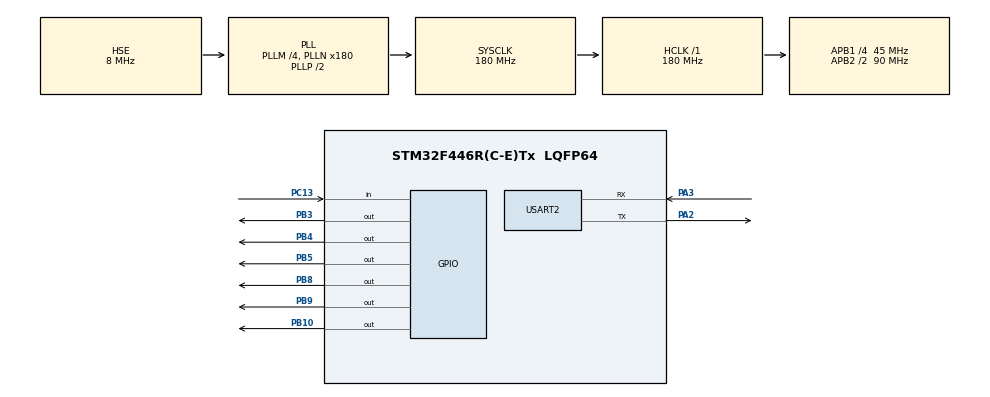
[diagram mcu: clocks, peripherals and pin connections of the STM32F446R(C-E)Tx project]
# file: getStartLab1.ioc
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FREERTOS.BinarySemaphores01=binarySemAutoGreen,Dynamic,NULL;binarySemAutoYellow,Dynamic,NULL;binarySemAutoRed,Dynamic,NULL;binarySemPedGreen,Dynamic,NULL;binarySemPedRed,Dynamic,NULL
FREERTOS.Tasks01=autoGreen,24,128,StartAutoGreen,Default,NULL,Dynamic,NULL,NULL;autoYellow,24,128,StartAutoYellow,Default,NULL,Dynamic,NULL,NULL;autoRed,24,128,StartAutoRed,Default,NULL,Dynamic,NULL,NULL;pedRed,24,128,StartPedRed,Default,NULL,Dynamic,NULL,NULL;pedGreen,24,128,startPedGreen,Default,NULL,Dynamic,NULL,NULL
FREERTOS.configUSE_NEWLIB_REENTRANT=1
Mcu.Family=STM32F4
Mcu.Name=STM32F446R(C-E)Tx
Mcu.Package=LQFP64
NVIC.PriorityGroup=NVIC_PRIORITYGROUP_4
NVIC.TIM6_DAC_IRQn=true\:15\:0\:false\:false\:true\:false\:false\:true\:true
NVIC.TimeBase=TIM6_DAC_IRQn
NVIC.TimeBaseIP=TIM6
PA13.Mode=Serial_Wire
PA13.Signal=SYS_JTMS-SWDIO
PA14.Mode=Serial_Wire
PA14.Signal=SYS_JTCK-SWCLK
PA2.Mode=Asynchronous
PA2.Signal=USART2_TX
PA3.Mode=Asynchronous
PA3.Signal=USART2_RX
PB10.Signal=GPIO_Output
PB3.Signal=GPIO_Output
PB4.Signal=GPIO_Output
PB5.Signal=GPIO_Output
PB8.Signal=GPIO_Output
PB9.Signal=GPIO_Output
PC13.Signal=GPIO_Input
PH0-OSC_IN.Mode=HSE-External-Oscillator
PH0-OSC_IN.Signal=RCC_OSC_IN
PH1-OSC_OUT.Mode=HSE-External-Oscillator
PH1-OSC_OUT.Signal=RCC_OSC_OUT
ProjectManager.HeapSize=0x200
ProjectManager.StackSize=0x400
ProjectManager.TargetToolchain=STM32CubeIDE
RCC.48MHZClocksFreq_Value=84000000
RCC.AHBFreq_Value=180000000
RCC.APB1CLKDivider=RCC_HCLK_DIV4
RCC.APB1Freq_Value=45000000
RCC.APB1TimFreq_Value=90000000
RCC.APB2CLKDivider=RCC_HCLK_DIV2
RCC.APB2Freq_Value=90000000
RCC.APB2TimFreq_Value=180000000
RCC.CortexFreq_Value=180000000
RCC.FLatency-AdvancedSettings=FLASH_LATENCY_5
RCC.HCLKFreq_Value=180000000
RCC.HSE_VALUE=8000000
RCC.HSI_VALUE=16000000
RCC.PLLM=4
RCC.PLLN=180
RCC.PLLSourceVirtual=RCC_PLLSOURCE_HSE
RCC.SYSCLKFreq_VALUE=180000000
RCC.SYSCLKSource=RCC_SYSCLKSOURCE_PLLCLK
RCC.USBFreq_Value=180000000
RCC.VCOOutputFreq_Value=360000000
USART2.VirtualMode=VM_ASYNC
VP_FREERTOS_VS_CMSIS_V2.Mode=CMSIS_V2
VP_SYS_VS_tim6.Mode=TIM6
board=NUCLEO-F446RE

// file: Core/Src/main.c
/* USER CODE BEGIN Header */
/**
  ******************************************************************************
  * @file           : main.c
  * @brief          : Main program body
  ******************************************************************************
  * @attention
  *
  * Copyright (c) 2024 STMicroelectronics.
  * All rights reserved.
  *
  * This software is licensed under terms that can be found in the LICENSE file
  * in the root directory of this software component.
  * If no LICENSE file comes with this software, it is provided AS-IS.
  *
  ******************************************************************************
  */
/* USER CODE END Header */
#include "main.h"
#include "cmsis_os.h"

UART_HandleTypeDef huart2;

/* Definitions for autoGreen */
osThreadId_t autoGreenHandle;
const osThreadAttr_t autoGreen_attributes = {
  .name = "autoGreen",
  .stack_size = 128 * 4,
  .priority = (osPriority_t) osPriorityNormal,
};
/* Definitions for autoYellow */
osThreadId_t autoYellowHandle;
const osThreadAttr_t autoYellow_attributes = {
  .name = "autoYellow",
  .stack_size = 128 * 4,
  .priority = (osPriority_t) osPriorityNormal,
};
/* Definitions for autoRed */
osThreadId_t autoRedHandle;
const osThreadAttr_t autoRed_attributes = {
  .name = "autoRed",
  .stack_size = 128 * 4,
  .priority = (osPriority_t) osPriorityNormal,
};
/* Definitions for pedRed */
osThreadId_t pedRedHandle;
const osThreadAttr_t pedRed_attributes = {
  .name = "pedRed",
  .stack_size = 128 * 4,
  .priority = (osPriority_t) osPriorityNormal,
};
/* Definitions for pedGreen */
osThreadId_t pedGreenHandle;
const osThreadAttr_t pedGreen_attributes = {
  .name = "pedGreen",
  .stack_size = 128 * 4,
  .priority = (osPriority_t) osPriorityNormal,
};
/* Definitions for binarySemAutoGreen */
osSemaphoreId_t binarySemAutoGreenHandle;
const osSemaphoreAttr_t binarySemAutoGreen_attributes = {
  .name = "binarySemAutoGreen"
};
/* Definitions for binarySemAutoYellow */
osSemaphoreId_t binarySemAutoYellowHandle;
const osSemaphoreAttr_t binarySemAutoYellow_attributes = {
  .name = "binarySemAutoYellow"
};
/* Definitions for binarySemAutoRed */
osSemaphoreId_t binarySemAutoRedHandle;
const osSemaphoreAttr_t binarySemAutoRed_attributes = {
  .name = "binarySemAutoRed"
};
/* Definitions for binarySemPedGreen */
osSemaphoreId_t binarySemPedGreenHandle;
const osSemaphoreAttr_t binarySemPedGreen_attributes = {
  .name = "binarySemPedGreen"
};
/* Definitions for binarySemPedRed */
osSemaphoreId_t binarySemPedRedHandle;
const osSemaphoreAttr_t binarySemPedRed_attributes = {
  .name = "binarySemPedRed"
};

void SystemClock_Config(void);
static void MX_GPIO_Init(void);
static void MX_USART2_UART_Init(void);
void StartAutoGreen(void *argument);
void StartAutoYellow(void *argument);
void StartAutoRed(void *argument);
void StartPedRed(void *argument);
void startPedGreen(void *argument);

/* USER CODE BEGIN 0 */
uint8_t dataTask1[] = "Task1: How are you?\r\n";
uint8_t dataTask2[] = "Task2: I am fine and you.\r\n";
uint8_t dataTask3[] = "Task3: It is nice you see here, Task3\r\n";

int flag = 0;

/* USER CODE END 0 */

int main(void)
{

  /* MCU Configuration--------------------------------------------------------*/

  /* Reset of all peripherals, Initializes the Flash interface and the Systick. */
  HAL_Init();

  /* Configure the system clock */
  SystemClock_Config();

  /* Initialize all configured peripherals */
  MX_GPIO_Init();
  MX_USART2_UART_Init();

  /* Init scheduler */
  osKernelInitialize();

  /* Create the semaphores(s) */
  /* creation of binarySemAutoGreen */
  binarySemAutoGreenHandle = osSemaphoreNew(1, 1, &binarySemAutoGreen_attributes); // Initialize to 1 for phase 1.

  /* creation of binarySemAutoYellow */
  binarySemAutoYellowHandle = osSemaphoreNew(1, 0, &binarySemAutoYellow_attributes);

  /* creation of binarySemAutoRed */
  binarySemAutoRedHandle = osSemaphoreNew(1, 0, &binarySemAutoRed_attributes);

  /* creation of binarySemPedGreen */
  binarySemPedGreenHandle = osSemaphoreNew(1, 0, &binarySemPedGreen_attributes);

  /* creation of binarySemPedRed */
  binarySemPedRedHandle = osSemaphoreNew(1, 1, &binarySemPedRed_attributes); // Initialize to 1 for phase 1.

  /* Create the thread(s) */
  /* creation of autoGreen */
  autoGreenHandle = osThreadNew(StartAutoGreen, NULL, &autoGreen_attributes);

  /* creation of autoYellow */
  autoYellowHandle = osThreadNew(StartAutoYellow, NULL, &autoYellow_attributes);

  /* creation of autoRed */
  autoRedHandle = osThreadNew(StartAutoRed, NULL, &autoRed_attributes);

  /* creation of pedRed */
  pedRedHandle = osThreadNew(StartPedRed, NULL, &pedRed_attributes);

  /* creation of pedGreen */
  pedGreenHandle = osThreadNew(startPedGreen, NULL, &pedGreen_attributes);

  /* Start scheduler */
  osKernelStart();

  /* We should never get here as control is now taken by the scheduler */
  /* Infinite loop */
  while (1)
  {

  }
}

void SystemClock_Config(void)
{
  RCC_OscInitTypeDef RCC_OscInitStruct = {0};
  RCC_ClkInitTypeDef RCC_ClkInitStruct = {0};

  /** Configure the main internal regulator output voltage
  */
  __HAL_RCC_PWR_CLK_ENABLE();
  __HAL_PWR_VOLTAGESCALING_CONFIG(PWR_REGULATOR_VOLTAGE_SCALE1);

  /** Initializes the RCC Oscillators according to the specified parameters
  * in the RCC_OscInitTypeDef structure.
  */
  RCC_OscInitStruct.OscillatorType = RCC_OSCILLATORTYPE_HSE;
  RCC_OscInitStruct.HSEState = RCC_HSE_ON;
  RCC_OscInitStruct.PLL.PLLState = RCC_PLL_ON;
  RCC_OscInitStruct.PLL.PLLSource = RCC_PLLSOURCE_HSE;
  RCC_OscInitStruct.PLL.PLLM = 4;
  RCC_OscInitStruct.PLL.PLLN = 180;
  RCC_OscInitStruct.PLL.PLLP = RCC_PLLP_DIV2;
  RCC_OscInitStruct.PLL.PLLQ = 2;
  RCC_OscInitStruct.PLL.PLLR = 2;
  if (HAL_RCC_OscConfig(&RCC_OscInitStruct) != HAL_OK)
  {
    Error_Handler();
  }

  /** Activate the Over-Drive mode
  */
  if (HAL_PWREx_EnableOverDrive() != HAL_OK)
  {
    Error_Handler();
  }

  /** Initializes the CPU, AHB and APB buses clocks
  */
  RCC_ClkInitStruct.ClockType = RCC_CLOCKTYPE_HCLK|RCC_CLOCKTYPE_SYSCLK
                              |RCC_CLOCKTYPE_PCLK1|RCC_CLOCKTYPE_PCLK2;
  RCC_ClkInitStruct.SYSCLKSource = RCC_SYSCLKSOURCE_PLLCLK;
  RCC_ClkInitStruct.AHBCLKDivider = RCC_SYSCLK_DIV1;
  RCC_ClkInitStruct.APB1CLKDivider = RCC_HCLK_DIV4;
  RCC_ClkInitStruct.APB2CLKDivider = RCC_HCLK_DIV2;

  if (HAL_RCC_ClockConfig(&RCC_ClkInitStruct, FLASH_LATENCY_5) != HAL_OK)
  {
    Error_Handler();
  }
}

static void MX_USART2_UART_Init(void)
{

  huart2.Instance = USART2;
  huart2.Init.BaudRate = 115200;
  huart2.Init.WordLength = UART_WORDLENGTH_8B;
  huart2.Init.StopBits = UART_STOPBITS_1;
  huart2.Init.Parity = UART_PARITY_NONE;
  huart2.Init.Mode = UART_MODE_TX_RX;
  huart2.Init.HwFlowCtl = UART_HWCONTROL_NONE;
  huart2.Init.OverSampling = UART_OVERSAMPLING_16;
  if (HAL_UART_Init(&huart2) != HAL_OK)
  {
    Error_Handler();
  }

}

static void MX_GPIO_Init(void)
{
  GPIO_InitTypeDef GPIO_InitStruct = {0};

  /* GPIO Ports Clock Enable */
  __HAL_RCC_GPIOC_CLK_ENABLE();
  __HAL_RCC_GPIOH_CLK_ENABLE();
  __HAL_RCC_GPIOA_CLK_ENABLE();
  __HAL_RCC_GPIOB_CLK_ENABLE();

  /*Configure GPIO pin Output Level */
  HAL_GPIO_WritePin(GPIOB, GPIO_PIN_10|GPIO_PIN_3|GPIO_PIN_4|GPIO_PIN_5
                          |GPIO_PIN_8|GPIO_PIN_9, GPIO_PIN_RESET);

  /*Configure GPIO pin : PC13 */
  GPIO_InitStruct.Pin = GPIO_PIN_13;
  GPIO_InitStruct.Mode = GPIO_MODE_INPUT;
  GPIO_InitStruct.Pull = GPIO_NOPULL;
  HAL_GPIO_Init(GPIOC, &GPIO_InitStruct);

  /*Configure GPIO pins : PB10 PB3 PB4 PB5
                           PB8 PB9 */
  GPIO_InitStruct.Pin = GPIO_PIN_10|GPIO_PIN_3|GPIO_PIN_4|GPIO_PIN_5
                          |GPIO_PIN_8|GPIO_PIN_9;
  GPIO_InitStruct.Mode = GPIO_MODE_OUTPUT_PP;
  GPIO_InitStruct.Pull = GPIO_NOPULL;
  GPIO_InitStruct.Speed = GPIO_SPEED_FREQ_LOW;
  HAL_GPIO_Init(GPIOB, &GPIO_InitStruct);

}

void StartAutoGreen(void *argument)
{
  /* USER CODE BEGIN 5 */
  /* Infinite loop */
  for(;;)
  {

	  // Phase 1 and 7.
	  // Acquire autoGreen semaphore.
	  osSemaphoreAcquire(binarySemAutoGreenHandle, osWaitForever);
	  HAL_GPIO_WritePin(GPIOB,GPIO_PIN_3, GPIO_PIN_SET);//Auto Green LED

	  while (HAL_GPIO_ReadPin(GPIOC, GPIO_PIN_13)); // Wait for button press.

	  HAL_GPIO_WritePin(GPIOB,GPIO_PIN_3, GPIO_PIN_RESET);
	  osSemaphoreRelease(binarySemAutoYellowHandle); // Release the semaphore for Auto Yellow to Transition to phase 2.

  }
  /* USER CODE END 5 */
}

void StartAutoYellow(void *argument)
{
  /* USER CODE BEGIN StartAutoYellow */
  /* Infinite loop */
  for(;;)
  {
	  osSemaphoreAcquire(binarySemAutoYellowHandle, osWaitForever);
	  HAL_GPIO_WritePin(GPIOB,GPIO_PIN_5, GPIO_PIN_SET);

	  osDelay(3000);

	  HAL_GPIO_WritePin(GPIOB, GPIO_PIN_5, GPIO_PIN_RESET); // initial state.
	  osSemaphoreRelease(binarySemAutoRedHandle);

	  osSemaphoreAcquire(binarySemAutoYellowHandle, osWaitForever);
	  HAL_GPIO_WritePin(GPIOB,GPIO_PIN_5, GPIO_PIN_SET);

	  osDelay(2000);

	  HAL_GPIO_WritePin(GPIOB, GPIO_PIN_5, GPIO_PIN_RESET);

  }
  /* USER CODE END StartAutoYellow */
}

void StartAutoRed(void *argument)
{
  /* USER CODE BEGIN StartAutoRed */
  /* Infinite loop */
  for(;;)
  {
	  osSemaphoreAcquire(binarySemAutoRedHandle, osWaitForever);
	  HAL_GPIO_WritePin(GPIOB,GPIO_PIN_4, GPIO_PIN_SET);

	  osDelay(12000);
	  osSemaphoreRelease(binarySemAutoYellowHandle);

	  osDelay(2000);
	  HAL_GPIO_WritePin(GPIOB, GPIO_PIN_4, GPIO_PIN_RESET);
	  osSemaphoreRelease(binarySemAutoGreenHandle);

  }
  /* USER CODE END StartAutoRed */
}

void StartPedRed(void *argument)
{
  /* USER CODE BEGIN StartPedRed */
  /* Infinite loop */
  for(;;)
  {
	  osSemaphoreAcquire(binarySemPedRedHandle, osWaitForever);
	  HAL_GPIO_WritePin(GPIOB,GPIO_PIN_8, GPIO_PIN_SET); // Initial state for phase 1.

	  while (HAL_GPIO_ReadPin(GPIOC, GPIO_PIN_13)); // Wait for button press.

	  osDelay(4000); // Wait 4 seconds to release semaphore for phase 4.

	  HAL_GPIO_WritePin(GPIOB,GPIO_PIN_8, GPIO_PIN_RESET); // Set off.

	  osSemaphoreRelease(binarySemPedGreenHandle); // For phase 4.
  }
  /* USER CODE END StartPedRed */
}

void startPedGreen(void *argument)
{
  /* USER CODE BEGIN startPedGreen */
  /* Infinite loop */
  for(;;)
  {
	  HAL_GPIO_WritePin(GPIOB,GPIO_PIN_9, GPIO_PIN_RESET); // Initial State.

	  osSemaphoreAcquire(binarySemPedGreenHandle, osWaitForever);

	  HAL_GPIO_WritePin(GPIOB,GPIO_PIN_9, GPIO_PIN_SET);

	  osDelay(10000);

	  osSemaphoreRelease(binarySemPedRedHandle);

  }
  /* USER CODE END startPedGreen */
}

void HAL_TIM_PeriodElapsedCallback(TIM_HandleTypeDef *htim)
{
  if (htim->Instance == TIM6) {
    HAL_IncTick();
  }
}

void Error_Handler(void)
{
  __disable_irq();
  while (1)
  {
  }
}
